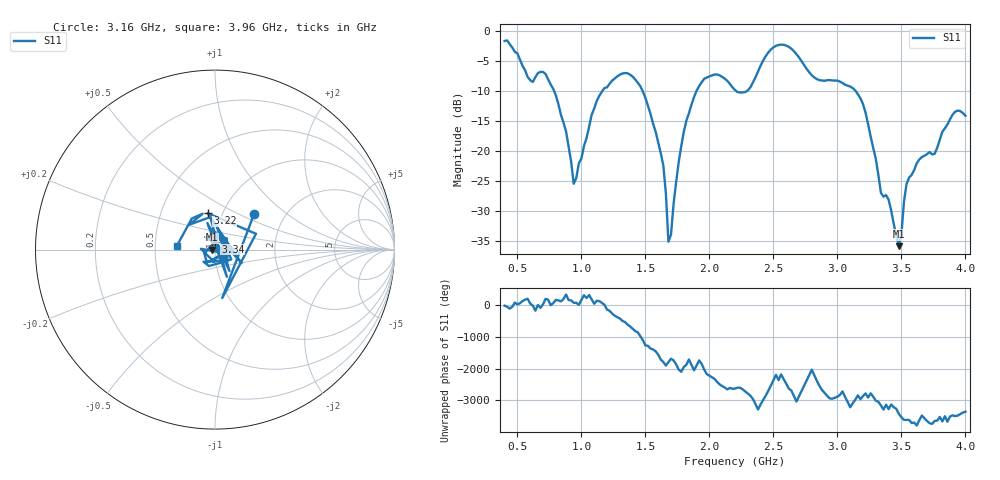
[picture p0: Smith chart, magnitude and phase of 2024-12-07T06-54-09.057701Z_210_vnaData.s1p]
!Created with skrf (http://scikit-rf.org).
# Hz S RI R 50.0
!freq ReS11 ImS11
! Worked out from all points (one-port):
!   181 points, 400 MHz to 4 GHz, reference 50 ohm
!   lowest |S11| = -35.9 dB at 3.48 GHz (marker M1), VSWR 1.03, Z = 48.4 - j0.0095 ohm
!   |S11| at or under -10 dB: 785.5 MHz to 1.166 GHz (380.5 MHz wide, 39 % of centre); 1.477 GHz to 1.9 GHz (423.2 MHz wide, 25.1 % of centre); 3.141 GHz to end of sweep (the widest 3 of 4)
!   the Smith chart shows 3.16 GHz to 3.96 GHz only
!   S11 on the Smith chart (normalised r, x): 3.16 GHz: 1.40, +0.61; 3.22 GHz: 0.85, +0.36; 3.34 GHz: 1.00, +0.09; 3.96 GHz: 0.65, +0.03
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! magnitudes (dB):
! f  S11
! 400 MHz  -1.7
! 600 MHz  -8.3
! 720 MHz  -7.2
! 860 MHz  -15.3
! 940 MHz  -25.5
! 1.12 GHz  -11.7
! 1.3 GHz  -7.4
! 1.42 GHz  -8.1
! 1.54 GHz  -13.9
! 1.64 GHz  -22.4
! 1.68 GHz  -35.1
! 1.76 GHz  -21.9
! 1.82 GHz  -15.0
! 1.96 GHz  -8.0
! 2.2 GHz  -9.9
! 2.3 GHz  -10.0
! 2.5 GHz  -2.8
! 2.66 GHz  -3.4
! 2.84 GHz  -8.1
! 3.1 GHz  -9.3
! 3.16 GHz  -10.6
! 3.22 GHz  -13.7
! 3.34 GHz  -27.0
! 3.4 GHz  -28.1
! 3.48 GHz  -35.9
! 3.56 GHz  -24.5
! 3.96 GHz  -13.4
! 4 GHz  -14.2
